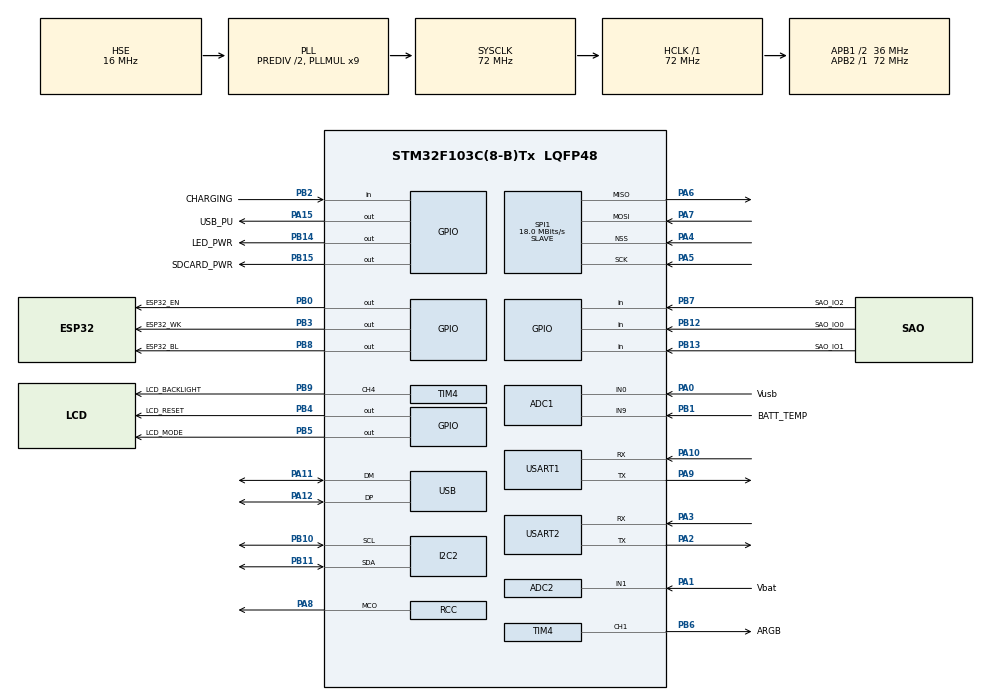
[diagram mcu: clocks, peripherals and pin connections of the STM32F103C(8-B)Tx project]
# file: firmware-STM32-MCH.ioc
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ADC1.Channel-0\#ChannelRegularConversion=ADC_CHANNEL_0
ADC1.NbrOfConversionFlag=1
ADC1.Rank-0\#ChannelRegularConversion=1
ADC1.SamplingTime-0\#ChannelRegularConversion=ADC_SAMPLETIME_1CYCLE_5
ADC1.master=1
ADC2.Channel-0\#ChannelRegularConversion=ADC_CHANNEL_1
ADC2.NbrOfConversionFlag=1
ADC2.Rank-0\#ChannelRegularConversion=1
ADC2.SamplingTime-0\#ChannelRegularConversion=ADC_SAMPLETIME_1CYCLE_5
Dma.Request0=USART2_RX
Dma.Request1=USART2_TX
Dma.Request2=USART1_RX
Dma.Request3=USART1_TX
Dma.Request4=TIM4_CH1
Dma.Request5=SPI1_RX
Dma.Request6=SPI1_TX
Dma.SPI1_RX.5.Direction=DMA_PERIPH_TO_MEMORY
Dma.SPI1_RX.5.Instance=DMA1_Channel2
Dma.SPI1_RX.5.MemDataAlignment=DMA_MDATAALIGN_BYTE
Dma.SPI1_RX.5.MemInc=DMA_MINC_ENABLE
Dma.SPI1_RX.5.Mode=DMA_NORMAL
Dma.SPI1_RX.5.PeriphDataAlignment=DMA_PDATAALIGN_BYTE
Dma.SPI1_RX.5.PeriphInc=DMA_PINC_DISABLE
Dma.SPI1_RX.5.Priority=DMA_PRIORITY_LOW
Dma.SPI1_TX.6.Direction=DMA_MEMORY_TO_PERIPH
Dma.SPI1_TX.6.Instance=DMA1_Channel3
Dma.SPI1_TX.6.MemDataAlignment=DMA_MDATAALIGN_BYTE
Dma.SPI1_TX.6.MemInc=DMA_MINC_ENABLE
Dma.SPI1_TX.6.Mode=DMA_NORMAL
Dma.SPI1_TX.6.PeriphDataAlignment=DMA_PDATAALIGN_BYTE
Dma.SPI1_TX.6.PeriphInc=DMA_PINC_DISABLE
Dma.SPI1_TX.6.Priority=DMA_PRIORITY_LOW
Dma.TIM4_CH1.4.Direction=DMA_MEMORY_TO_PERIPH
Dma.TIM4_CH1.4.Instance=DMA1_Channel1
Dma.TIM4_CH1.4.MemDataAlignment=DMA_MDATAALIGN_HALFWORD
Dma.TIM4_CH1.4.MemInc=DMA_MINC_ENABLE
Dma.TIM4_CH1.4.Mode=DMA_NORMAL
Dma.TIM4_CH1.4.PeriphDataAlignment=DMA_PDATAALIGN_HALFWORD
Dma.TIM4_CH1.4.PeriphInc=DMA_PINC_DISABLE
Dma.TIM4_CH1.4.Priority=DMA_PRIORITY_HIGH
Dma.USART1_RX.2.Direction=DMA_PERIPH_TO_MEMORY
Dma.USART1_RX.2.Instance=DMA1_Channel5
Dma.USART1_RX.2.MemDataAlignment=DMA_MDATAALIGN_BYTE
Dma.USART1_RX.2.MemInc=DMA_MINC_ENABLE
Dma.USART1_RX.2.Mode=DMA_NORMAL
Dma.USART1_RX.2.PeriphDataAlignment=DMA_PDATAALIGN_BYTE
Dma.USART1_RX.2.PeriphInc=DMA_PINC_DISABLE
Dma.USART1_RX.2.Priority=DMA_PRIORITY_LOW
Dma.USART1_TX.3.Direction=DMA_MEMORY_TO_PERIPH
Dma.USART1_TX.3.Instance=DMA1_Channel4
Dma.USART1_TX.3.MemDataAlignment=DMA_MDATAALIGN_BYTE
Dma.USART1_TX.3.MemInc=DMA_MINC_ENABLE
Dma.USART1_TX.3.Mode=DMA_NORMAL
Dma.USART1_TX.3.PeriphDataAlignment=DMA_PDATAALIGN_BYTE
Dma.USART1_TX.3.PeriphInc=DMA_PINC_DISABLE
Dma.USART1_TX.3.Priority=DMA_PRIORITY_LOW
Dma.USART2_RX.0.Direction=DMA_PERIPH_TO_MEMORY
Dma.USART2_RX.0.Instance=DMA1_Channel6
Dma.USART2_RX.0.MemDataAlignment=DMA_MDATAALIGN_BYTE
Dma.USART2_RX.0.MemInc=DMA_MINC_ENABLE
Dma.USART2_RX.0.Mode=DMA_NORMAL
Dma.USART2_RX.0.PeriphDataAlignment=DMA_PDATAALIGN_BYTE
Dma.USART2_RX.0.PeriphInc=DMA_PINC_DISABLE
Dma.USART2_RX.0.Priority=DMA_PRIORITY_LOW
Dma.USART2_TX.1.Direction=DMA_MEMORY_TO_PERIPH
Dma.USART2_TX.1.Instance=DMA1_Channel7
Dma.USART2_TX.1.MemDataAlignment=DMA_MDATAALIGN_BYTE
Dma.USART2_TX.1.MemInc=DMA_MINC_ENABLE
Dma.USART2_TX.1.Mode=DMA_NORMAL
Dma.USART2_TX.1.PeriphDataAlignment=DMA_PDATAALIGN_BYTE
Dma.USART2_TX.1.PeriphInc=DMA_PINC_DISABLE
Dma.USART2_TX.1.Priority=DMA_PRIORITY_LOW
Mcu.Family=STM32F1
Mcu.Name=STM32F103C(8-B)Tx
Mcu.Package=LQFP48
NVIC.ADC1_2_IRQn=true\:15\:0\:true\:false\:true\:true\:true
NVIC.DMA1_Channel1_IRQn=true\:0\:0\:false\:false\:true\:false\:true
NVIC.DMA1_Channel2_IRQn=true\:0\:0\:false\:false\:true\:false\:true
NVIC.DMA1_Channel3_IRQn=true\:0\:0\:false\:false\:true\:false\:true
NVIC.DMA1_Channel4_IRQn=true\:0\:0\:false\:false\:true\:false\:true
NVIC.DMA1_Channel5_IRQn=true\:0\:0\:false\:false\:true\:false\:true
NVIC.DMA1_Channel6_IRQn=true\:0\:0\:true\:false\:true\:false\:true
NVIC.DMA1_Channel7_IRQn=true\:0\:0\:true\:false\:true\:false\:true
NVIC.PriorityGroup=NVIC_PRIORITYGROUP_4
NVIC.TIM4_IRQn=true\:0\:0\:false\:false\:true\:true\:true
NVIC.USART1_IRQn=true\:0\:0\:false\:false\:true\:true\:true
NVIC.USART2_IRQn=true\:0\:0\:true\:false\:true\:true\:true
PA0-WKUP.GPIO_Label=Vusb
PA0-WKUP.Signal=ADCx_IN0
PA1.GPIO_Label=Vbat
PA1.Signal=ADCx_IN1
PA10.Mode=Asynchronous
PA10.Signal=USART1_RX
PA11.Mode=Device
PA11.Signal=USB_DM
PA12.Mode=Device
PA12.Signal=USB_DP
PA13.Mode=Serial_Wire
PA13.Signal=SYS_JTMS-SWDIO
PA14.Mode=Serial_Wire
PA14.Signal=SYS_JTCK-SWCLK
PA15.GPIO_Label=USB_PU
PA15.PinState=GPIO_PIN_SET
PA15.Signal=GPIO_Output
PA2.Mode=Asynchronous
PA2.Signal=USART2_TX
PA3.Mode=Asynchronous
PA3.Signal=USART2_RX
PA4.Mode=NSS_Signal_Hard_Input
PA4.Signal=SPI1_NSS
PA5.Mode=Full_Duplex_Slave
PA5.Signal=SPI1_SCK
PA6.Mode=Full_Duplex_Slave
PA6.Signal=SPI1_MISO
PA7.Mode=Full_Duplex_Slave
PA7.Signal=SPI1_MOSI
PA8.GPIO_Speed=GPIO_SPEED_FREQ_MEDIUM
PA8.Mode=Clock-out
PA8.Signal=RCC_MCO
PA9.Mode=Asynchronous
PA9.Signal=USART1_TX
PB0.GPIO_Label=ESP32_EN
PB0.PinState=GPIO_PIN_SET
PB0.Signal=GPIO_Output
PB1.GPIO_Label=BATT_TEMP
PB1.Signal=ADCx_IN9
PB10.Mode=I2C
PB10.Signal=I2C2_SCL
PB11.Mode=I2C
PB11.Signal=I2C2_SDA
PB12.GPIO_Label=SAO_IO0
PB12.Signal=GPIO_Input
PB13.GPIO_Label=SAO_IO1
PB13.Signal=GPIO_Input
PB14.GPIO_Label=LED_PWR
PB14.PinState=GPIO_PIN_SET
PB14.Signal=GPIO_Output
PB15.GPIO_Label=SDCARD_PWR
PB15.Signal=GPIO_Output
PB2.GPIO_Label=CHARGING
PB2.Signal=GPIO_Input
PB3.GPIO_Label=ESP32_WK
PB3.Signal=GPIO_Output
PB4.GPIO_Label=LCD_RESET
PB4.Signal=GPIO_Output
PB5.GPIO_Label=LCD_MODE
PB5.Signal=GPIO_Output
PB6.GPIO_Label=ARGB
PB6.Signal=S_TIM4_CH1
PB7.GPIO_Label=SAO_IO2
PB7.Signal=GPIO_Input
PB8.GPIO_Label=ESP32_BL
PB8.PinState=GPIO_PIN_SET
PB8.Signal=GPIO_Output
PB9.GPIO_Label=LCD_BACKLIGHT
PB9.Signal=S_TIM4_CH4
PC14-OSC32_IN.Mode=LSE-External-Oscillator
PC14-OSC32_IN.Signal=RCC_OSC32_IN
PC15-OSC32_OUT.Mode=LSE-External-Oscillator
PC15-OSC32_OUT.Signal=RCC_OSC32_OUT
PD0-OSC_IN.Mode=HSE-External-Oscillator
PD0-OSC_IN.Signal=RCC_OSC_IN
PD1-OSC_OUT.Mode=HSE-External-Oscillator
PD1-OSC_OUT.Signal=RCC_OSC_OUT
ProjectManager.HeapSize=0x200
ProjectManager.StackSize=0x400
ProjectManager.TargetToolchain=STM32CubeIDE
RCC.ADCPresc=RCC_ADCPCLK2_DIV6
RCC.AHBFreq_Value=72000000
RCC.APB1CLKDivider=RCC_HCLK_DIV2
RCC.APB1Freq_Value=36000000
RCC.APB1TimFreq_Value=72000000
RCC.APB2Freq_Value=72000000
RCC.APB2TimFreq_Value=72000000
RCC.HCLKFreq_Value=72000000
RCC.HSEDivPLL=RCC_HSE_PREDIV_DIV2
RCC.HSE_VALUE=16000000
RCC.PLLMUL=RCC_PLL_MUL9
RCC.RCC_MCOSource=RCC_MCO1SOURCE_HSE
RCC.SYSCLKFreq_VALUE=72000000
RCC.SYSCLKSource=RCC_SYSCLKSOURCE_PLLCLK
RCC.USBFreq_Value=48000000
RCC.USBPrescaler=RCC_USBCLKSOURCE_PLL_DIV1_5
SH.ADCx_IN0.0=ADC1_IN0,IN0
SH.ADCx_IN1.0=ADC2_IN1,IN1
SH.ADCx_IN9.0=ADC1_IN9,IN9
SH.S_TIM4_CH1.0=TIM4_CH1,PWM Generation1 CH1
SH.S_TIM4_CH4.0=TIM4_CH4,PWM Generation4 CH4
SPI1.BaudRatePrescaler=SPI_BAUDRATEPRESCALER_4
SPI1.CalculateBaudRate=18.0 MBits/s
SPI1.Direction=SPI_DIRECTION_2LINES
SPI1.Mode=SPI_MODE_SLAVE
SPI1.VirtualNSS=VM_NSSHARD
SPI1.VirtualType=VM_SLAVE
TIM4.Channel-PWM\ Generation1\ CH1=TIM_CHANNEL_1
TIM4.Channel-PWM\ Generation4\ CH4=TIM_CHANNEL_4
TIM4.Period=90
TIM4.Pulse-PWM\ Generation4\ CH4=45
USART1.VirtualMode=VM_ASYNC
USART2.VirtualMode=VM_ASYNC
VP_TIM4_VS_ClockSourceINT.Mode=Internal
board=custom

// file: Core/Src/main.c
/* USER CODE BEGIN Header */
/**
  ******************************************************************************
  * @file           : main.c
  * @brief          : Main program body
  ******************************************************************************
  * @attention
  *
  * <h2><center>&copy; Copyright (c) 2020 STMicroelectronics.
  * All rights reserved.</center></h2>
  *
  * This software component is licensed by ST under BSD 3-Clause license,
  * the "License"; You may not use this file except in compliance with the
  * License. You may obtain a copy of the License at:
  *                        opensource.org/licenses/BSD-3-Clause
  *
  ******************************************************************************
  */
/* USER CODE END Header */
#include "main.h"

/* USER CODE BEGIN Includes */
#include "tusb.h"
//#include "i2c_handler.h"
#include "usb_descriptors.h"
#include "uart_driver.h"
#include "led_driver.h"
#include "lcd_helper.h"
#include "spi_driver.h"
#include "webusb.h"
//#include "interrupt_pin.h"
/* USER CODE END Includes */

/* USER CODE BEGIN PD */
#define URL  "webusb.wittemanlabs.nl"

const tusb_desc_webusb_url_t desc_url =
{
  .bLength         = 3 + sizeof(URL) - 1,
  .bDescriptorType = 3, // WEBUSB URL type
  .bScheme         = 1, // 0: http, 1: https
  .url             = URL
};

void webserial_task(void);

/* USER CODE END PD */

ADC_HandleTypeDef hadc1;
ADC_HandleTypeDef hadc2;

I2C_HandleTypeDef hi2c2;

SPI_HandleTypeDef hspi1;
DMA_HandleTypeDef hdma_spi1_rx;
DMA_HandleTypeDef hdma_spi1_tx;

TIM_HandleTypeDef htim4;
DMA_HandleTypeDef hdma_tim4_ch1;

UART_HandleTypeDef huart1;
UART_HandleTypeDef huart2;
DMA_HandleTypeDef hdma_usart1_rx;
DMA_HandleTypeDef hdma_usart1_tx;
DMA_HandleTypeDef hdma_usart2_rx;
DMA_HandleTypeDef hdma_usart2_tx;

PCD_HandleTypeDef hpcd_USB_FS;

void SystemClock_Config(void);
static void MX_GPIO_Init(void);
static void MX_DMA_Init(void);
static void MX_USART2_UART_Init(void);
static void MX_USB_PCD_Init(void);
static void MX_USART1_UART_Init(void);
static void MX_ADC1_Init(void);
static void MX_ADC2_Init(void);
static void MX_TIM4_Init(void);
static void MX_I2C2_Init(void);
static void MX_SPI1_Init(void);

/* USER CODE BEGIN 0 */
enum  {
  BLINK_NOT_MOUNTED = 250,
  BLINK_MOUNTED = 1000,
  BLINK_SUSPENDED = 2500,
};

static uint32_t blink_interval_ms = BLINK_NOT_MOUNTED;
uint32_t last_tick;

void led_task(void);
void usb_device_task(void);
void cdc_task(void);
void hid_task(void);
void midi_task(void);
uint32_t board_millis(void);
/* USER CODE END 0 */

int main(void)
{
  /* USER CODE BEGIN 1 */
#ifdef BOOTLOADER_BUILD
	SCB->VTOR = 0x08004000;
	__enable_irq();
#endif
  /* USER CODE END 1 */

  /* MCU Configuration--------------------------------------------------------*/

  /* Reset of all peripherals, Initializes the Flash interface and the Systick. */
  HAL_Init();

  /* Configure the system clock */
  SystemClock_Config();

  /* Initialize all configured peripherals */
  MX_GPIO_Init();
  MX_DMA_Init();
  MX_USART2_UART_Init();
  MX_USB_PCD_Init();
  MX_USART1_UART_Init();
  MX_ADC1_Init();
  MX_ADC2_Init();
  MX_TIM4_Init();
  MX_I2C2_Init();
  MX_SPI1_Init();
  /* USER CODE BEGIN 2 */
  //HAL_I2C_EnableListen_IT(&hi2c1);
  uart_init();
  tusb_init();
  spi_init(&hspi1);
  init_leds(&htim4, TIM_CHANNEL_1);
  init_lcd();

  uint32_t decimator = 0;
  /* USER CODE END 2 */

  /* Infinite loop */
  /* USER CODE BEGIN WHILE */
  while (1)
  {

	  	tud_task(); // tinyusb device task
		#if CFG_TUD_CDC
				cdc_task();
		#endif

		#if CFG_TUD_HID
		//		hid_task();
		#endif

		#if CFG_TUD_MIDI
		//		midi_task();
		#endif

		webusb_task();

		//button_task();

		//i2c_watchdog(&hi2c1);

		lcd_helper();

		if(last_tick != HAL_GetTick()) {
			last_tick = HAL_GetTick();
			spi_update();
			lcd_helper();
			decimator++;
			if(decimator == 1000) {
				update_leds();
				decimator = 0;
			}

			if (UART_SERIAL.Instance->SR & UART_FLAG_IDLE && UART_SERIAL.hdmarx->State == HAL_DMA_STATE_BUSY) /* if Idle flag is set */
			{
				volatile uint32_t tmp; /* Must be volatile to prevent optimizations */
				tmp = UART_SERIAL.Instance->SR; /* Read status register */
				tmp = UART_SERIAL.Instance->DR; /* Read data register */ //This two reads clears the IDLE Flag
				UNUSED(tmp);

				uint32_t cndtr = UART_SERIAL.hdmarx->Instance->CNDTR;
				if(cndtr < 256) {
					HAL_UART_AbortReceive(&UART_SERIAL);
					UART_Early_Exit(&UART_SERIAL, cndtr);
				}
			}

			if(UART_SERIAL.hdmarx->State == HAL_DMA_STATE_READY) {
				UART_Reset();
			}

			if (UART_FPGA.Instance->SR & UART_FLAG_IDLE && UART_FPGA.hdmarx->State == HAL_DMA_STATE_BUSY) /* if Idle flag is set */
						{
							volatile uint32_t tmp; /* Must be volatile to prevent optimizations */
							tmp = UART_FPGA.Instance->SR; /* Read status register */
							tmp = UART_FPGA.Instance->DR; /* Read data register */ //This two reads clears the IDLE Flag
							UNUSED(tmp);

							uint32_t cndtr = UART_FPGA.hdmarx->Instance->CNDTR;
							if(cndtr < 256) {
								HAL_UART_AbortReceive(&UART_FPGA);
								UART_Early_Exit(&UART_FPGA, cndtr);
							}
						}

			if(UART_FPGA.hdmarx->State == HAL_DMA_STATE_READY) {
				FPGA_Reset();
			}
		}
    /* USER CODE END WHILE */

  }
}

void SystemClock_Config(void)
{
  RCC_OscInitTypeDef RCC_OscInitStruct = {0};
  RCC_ClkInitTypeDef RCC_ClkInitStruct = {0};
  RCC_PeriphCLKInitTypeDef PeriphClkInit = {0};

  /** Initializes the RCC Oscillators according to the specified parameters
  * in the RCC_OscInitTypeDef structure.
  */
  RCC_OscInitStruct.OscillatorType = RCC_OSCILLATORTYPE_HSE;
  RCC_OscInitStruct.HSEState = RCC_HSE_ON;
  RCC_OscInitStruct.HSEPredivValue = RCC_HSE_PREDIV_DIV2;
  RCC_OscInitStruct.HSIState = RCC_HSI_ON;
  RCC_OscInitStruct.PLL.PLLState = RCC_PLL_ON;
  RCC_OscInitStruct.PLL.PLLSource = RCC_PLLSOURCE_HSE;
  RCC_OscInitStruct.PLL.PLLMUL = RCC_PLL_MUL9;
  if (HAL_RCC_OscConfig(&RCC_OscInitStruct) != HAL_OK)
  {
    Error_Handler();
  }
  /** Initializes the CPU, AHB and APB buses clocks
  */
  RCC_ClkInitStruct.ClockType = RCC_CLOCKTYPE_HCLK|RCC_CLOCKTYPE_SYSCLK
                              |RCC_CLOCKTYPE_PCLK1|RCC_CLOCKTYPE_PCLK2;
  RCC_ClkInitStruct.SYSCLKSource = RCC_SYSCLKSOURCE_PLLCLK;
  RCC_ClkInitStruct.AHBCLKDivider = RCC_SYSCLK_DIV1;
  RCC_ClkInitStruct.APB1CLKDivider = RCC_HCLK_DIV2;
  RCC_ClkInitStruct.APB2CLKDivider = RCC_HCLK_DIV1;

  if (HAL_RCC_ClockConfig(&RCC_ClkInitStruct, FLASH_LATENCY_2) != HAL_OK)
  {
    Error_Handler();
  }
  PeriphClkInit.PeriphClockSelection = RCC_PERIPHCLK_ADC|RCC_PERIPHCLK_USB;
  PeriphClkInit.AdcClockSelection = RCC_ADCPCLK2_DIV6;
  PeriphClkInit.UsbClockSelection = RCC_USBCLKSOURCE_PLL_DIV1_5;
  if (HAL_RCCEx_PeriphCLKConfig(&PeriphClkInit) != HAL_OK)
  {
    Error_Handler();
  }
  HAL_RCC_MCOConfig(RCC_MCO, RCC_MCO1SOURCE_HSE, RCC_MCODIV_1);
}

static void MX_ADC1_Init(void)
{

  ADC_ChannelConfTypeDef sConfig = {0};

  /** Common config
  */
  hadc1.Instance = ADC1;
  hadc1.Init.ScanConvMode = ADC_SCAN_DISABLE;
  hadc1.Init.ContinuousConvMode = DISABLE;
  hadc1.Init.DiscontinuousConvMode = DISABLE;
  hadc1.Init.ExternalTrigConv = ADC_SOFTWARE_START;
  hadc1.Init.DataAlign = ADC_DATAALIGN_RIGHT;
  hadc1.Init.NbrOfConversion = 1;
  if (HAL_ADC_Init(&hadc1) != HAL_OK)
  {
    Error_Handler();
  }
  /** Configure Regular Channel
  */
  sConfig.Channel = ADC_CHANNEL_0;
  sConfig.Rank = ADC_REGULAR_RANK_1;
  sConfig.SamplingTime = ADC_SAMPLETIME_1CYCLE_5;
  if (HAL_ADC_ConfigChannel(&hadc1, &sConfig) != HAL_OK)
  {
    Error_Handler();
  }

}

static void MX_ADC2_Init(void)
{

  ADC_ChannelConfTypeDef sConfig = {0};

  /** Common config
  */
  hadc2.Instance = ADC2;
  hadc2.Init.ScanConvMode = ADC_SCAN_DISABLE;
  hadc2.Init.ContinuousConvMode = DISABLE;
  hadc2.Init.DiscontinuousConvMode = DISABLE;
  hadc2.Init.ExternalTrigConv = ADC_SOFTWARE_START;
  hadc2.Init.DataAlign = ADC_DATAALIGN_RIGHT;
  hadc2.Init.NbrOfConversion = 1;
  if (HAL_ADC_Init(&hadc2) != HAL_OK)
  {
    Error_Handler();
  }
  /** Configure Regular Channel
  */
  sConfig.Channel = ADC_CHANNEL_1;
  sConfig.Rank = ADC_REGULAR_RANK_1;
  sConfig.SamplingTime = ADC_SAMPLETIME_1CYCLE_5;
  if (HAL_ADC_ConfigChannel(&hadc2, &sConfig) != HAL_OK)
  {
    Error_Handler();
  }

}

static void MX_I2C2_Init(void)
{

  hi2c2.Instance = I2C2;
  hi2c2.Init.ClockSpeed = 100000;
  hi2c2.Init.DutyCycle = I2C_DUTYCYCLE_2;
  hi2c2.Init.OwnAddress1 = 0;
  hi2c2.Init.AddressingMode = I2C_ADDRESSINGMODE_7BIT;
  hi2c2.Init.DualAddressMode = I2C_DUALADDRESS_DISABLE;
  hi2c2.Init.OwnAddress2 = 0;
  hi2c2.Init.GeneralCallMode = I2C_GENERALCALL_DISABLE;
  hi2c2.Init.NoStretchMode = I2C_NOSTRETCH_DISABLE;
  if (HAL_I2C_Init(&hi2c2) != HAL_OK)
  {
    Error_Handler();
  }

}

static void MX_SPI1_Init(void)
{

  /* SPI1 parameter configuration*/
  hspi1.Instance = SPI1;
  hspi1.Init.Mode = SPI_MODE_SLAVE;
  hspi1.Init.Direction = SPI_DIRECTION_2LINES;
  hspi1.Init.DataSize = SPI_DATASIZE_8BIT;
  hspi1.Init.CLKPolarity = SPI_POLARITY_LOW;
  hspi1.Init.CLKPhase = SPI_PHASE_1EDGE;
  hspi1.Init.NSS = SPI_NSS_HARD_INPUT;
  hspi1.Init.BaudRatePrescaler = SPI_BAUDRATEPRESCALER_4;
  hspi1.Init.FirstBit = SPI_FIRSTBIT_MSB;
  hspi1.Init.TIMode = SPI_TIMODE_DISABLE;
  hspi1.Init.CRCCalculation = SPI_CRCCALCULATION_DISABLE;
  hspi1.Init.CRCPolynomial = 10;
  if (HAL_SPI_Init(&hspi1) != HAL_OK)
  {
    Error_Handler();
  }

}

static void MX_TIM4_Init(void)
{

  TIM_ClockConfigTypeDef sClockSourceConfig = {0};
  TIM_MasterConfigTypeDef sMasterConfig = {0};
  TIM_OC_InitTypeDef sConfigOC = {0};

  htim4.Instance = TIM4;
  htim4.Init.Prescaler = 0;
  htim4.Init.CounterMode = TIM_COUNTERMODE_UP;
  htim4.Init.Period = 90;
  htim4.Init.ClockDivision = TIM_CLOCKDIVISION_DIV1;
  htim4.Init.AutoReloadPreload = TIM_AUTORELOAD_PRELOAD_DISABLE;
  if (HAL_TIM_Base_Init(&htim4) != HAL_OK)
  {
    Error_Handler();
  }
  sClockSourceConfig.ClockSource = TIM_CLOCKSOURCE_INTERNAL;
  if (HAL_TIM_ConfigClockSource(&htim4, &sClockSourceConfig) != HAL_OK)
  {
    Error_Handler();
  }
  if (HAL_TIM_PWM_Init(&htim4) != HAL_OK)
  {
    Error_Handler();
  }
  sMasterConfig.MasterOutputTrigger = TIM_TRGO_RESET;
  sMasterConfig.MasterSlaveMode = TIM_MASTERSLAVEMODE_DISABLE;
  if (HAL_TIMEx_MasterConfigSynchronization(&htim4, &sMasterConfig) != HAL_OK)
  {
    Error_Handler();
  }
  sConfigOC.OCMode = TIM_OCMODE_PWM1;
  sConfigOC.Pulse = 0;
  sConfigOC.OCPolarity = TIM_OCPOLARITY_HIGH;
  sConfigOC.OCFastMode = TIM_OCFAST_DISABLE;
  if (HAL_TIM_PWM_ConfigChannel(&htim4, &sConfigOC, TIM_CHANNEL_1) != HAL_OK)
  {
    Error_Handler();
  }
  sConfigOC.Pulse = 45;
  if (HAL_TIM_PWM_ConfigChannel(&htim4, &sConfigOC, TIM_CHANNEL_4) != HAL_OK)
  {
    Error_Handler();
  }
  HAL_TIM_MspPostInit(&htim4);

}

static void MX_USART1_UART_Init(void)
{

  huart1.Instance = USART1;
  huart1.Init.BaudRate = 115200;
  huart1.Init.WordLength = UART_WORDLENGTH_8B;
  huart1.Init.StopBits = UART_STOPBITS_1;
  huart1.Init.Parity = UART_PARITY_NONE;
  huart1.Init.Mode = UART_MODE_TX_RX;
  huart1.Init.HwFlowCtl = UART_HWCONTROL_NONE;
  huart1.Init.OverSampling = UART_OVERSAMPLING_16;
  if (HAL_UART_Init(&huart1) != HAL_OK)
  {
    Error_Handler();
  }

}

static void MX_USART2_UART_Init(void)
{

  huart2.Instance = USART2;
  huart2.Init.BaudRate = 115200;
  huart2.Init.WordLength = UART_WORDLENGTH_8B;
  huart2.Init.StopBits = UART_STOPBITS_1;
  huart2.Init.Parity = UART_PARITY_NONE;
  huart2.Init.Mode = UART_MODE_TX_RX;
  huart2.Init.HwFlowCtl = UART_HWCONTROL_NONE;
  huart2.Init.OverSampling = UART_OVERSAMPLING_16;
  if (HAL_UART_Init(&huart2) != HAL_OK)
  {
    Error_Handler();
  }

}

static void MX_USB_PCD_Init(void)
{

  hpcd_USB_FS.Instance = USB;
  hpcd_USB_FS.Init.dev_endpoints = 8;
  hpcd_USB_FS.Init.speed = PCD_SPEED_FULL;
  hpcd_USB_FS.Init.low_power_enable = DISABLE;
  hpcd_USB_FS.Init.lpm_enable = DISABLE;
  hpcd_USB_FS.Init.battery_charging_enable = DISABLE;
  if (HAL_PCD_Init(&hpcd_USB_FS) != HAL_OK)
  {
    Error_Handler();
  }

}

static void MX_DMA_Init(void)
{

  /* DMA controller clock enable */
  __HAL_RCC_DMA1_CLK_ENABLE();

  /* DMA interrupt init */
  /* DMA1_Channel1_IRQn interrupt configuration */
  HAL_NVIC_SetPriority(DMA1_Channel1_IRQn, 0, 0);
  HAL_NVIC_EnableIRQ(DMA1_Channel1_IRQn);
  /* DMA1_Channel2_IRQn interrupt configuration */
  HAL_NVIC_SetPriority(DMA1_Channel2_IRQn, 0, 0);
  HAL_NVIC_EnableIRQ(DMA1_Channel2_IRQn);
  /* DMA1_Channel3_IRQn interrupt configuration */
  HAL_NVIC_SetPriority(DMA1_Channel3_IRQn, 0, 0);
  HAL_NVIC_EnableIRQ(DMA1_Channel3_IRQn);
  /* DMA1_Channel4_IRQn interrupt configuration */
  HAL_NVIC_SetPriority(DMA1_Channel4_IRQn, 0, 0);
  HAL_NVIC_EnableIRQ(DMA1_Channel4_IRQn);
  /* DMA1_Channel5_IRQn interrupt configuration */
  HAL_NVIC_SetPriority(DMA1_Channel5_IRQn, 0, 0);
  HAL_NVIC_EnableIRQ(DMA1_Channel5_IRQn);
  /* DMA1_Channel6_IRQn interrupt configuration */
  HAL_NVIC_SetPriority(DMA1_Channel6_IRQn, 0, 0);
  HAL_NVIC_EnableIRQ(DMA1_Channel6_IRQn);
  /* DMA1_Channel7_IRQn interrupt configuration */
  HAL_NVIC_SetPriority(DMA1_Channel7_IRQn, 0, 0);
  HAL_NVIC_EnableIRQ(DMA1_Channel7_IRQn);

}

static void MX_GPIO_Init(void)
{
  GPIO_InitTypeDef GPIO_InitStruct = {0};

  /* GPIO Ports Clock Enable */
  __HAL_RCC_GPIOC_CLK_ENABLE();
  __HAL_RCC_GPIOD_CLK_ENABLE();
  __HAL_RCC_GPIOA_CLK_ENABLE();
  __HAL_RCC_GPIOB_CLK_ENABLE();

  /*Configure GPIO pin Output Level */
  HAL_GPIO_WritePin(GPIOB, ESP32_EN_Pin|LED_PWR_Pin|ESP32_BL_Pin, GPIO_PIN_SET);

  /*Configure GPIO pin Output Level */
  HAL_GPIO_WritePin(GPIOB, SDCARD_PWR_Pin|ESP32_WK_Pin|LCD_RESET_Pin|LCD_MODE_Pin, GPIO_PIN_RESET);

  /*Configure GPIO pin Output Level */
  HAL_GPIO_WritePin(USB_PU_GPIO_Port, USB_PU_Pin, GPIO_PIN_SET);

  /*Configure GPIO pins : ESP32_EN_Pin LED_PWR_Pin SDCARD_PWR_Pin ESP32_WK_Pin
                           LCD_RESET_Pin LCD_MODE_Pin ESP32_BL_Pin */
  GPIO_InitStruct.Pin = ESP32_EN_Pin|LED_PWR_Pin|SDCARD_PWR_Pin|ESP32_WK_Pin
                          |LCD_RESET_Pin|LCD_MODE_Pin|ESP32_BL_Pin;
  GPIO_InitStruct.Mode = GPIO_MODE_OUTPUT_PP;
  GPIO_InitStruct.Pull = GPIO_NOPULL;
  GPIO_InitStruct.Speed = GPIO_SPEED_FREQ_LOW;
  HAL_GPIO_Init(GPIOB, &GPIO_InitStruct);

  /*Configure GPIO pins : CHARGING_Pin SAO_IO0_Pin SAO_IO1_Pin SAO_IO2_Pin */
  GPIO_InitStruct.Pin = CHARGING_Pin|SAO_IO0_Pin|SAO_IO1_Pin|SAO_IO2_Pin;
  GPIO_InitStruct.Mode = GPIO_MODE_INPUT;
  GPIO_InitStruct.Pull = GPIO_NOPULL;
  HAL_GPIO_Init(GPIOB, &GPIO_InitStruct);

  /*Configure GPIO pin : PA8 */
  GPIO_InitStruct.Pin = GPIO_PIN_8;
  GPIO_InitStruct.Mode = GPIO_MODE_AF_PP;
  GPIO_InitStruct.Speed = GPIO_SPEED_FREQ_MEDIUM;
  HAL_GPIO_Init(GPIOA, &GPIO_InitStruct);

  /*Configure GPIO pin : USB_PU_Pin */
  GPIO_InitStruct.Pin = USB_PU_Pin;
  GPIO_InitStruct.Mode = GPIO_MODE_OUTPUT_PP;
  GPIO_InitStruct.Pull = GPIO_NOPULL;
  GPIO_InitStruct.Speed = GPIO_SPEED_FREQ_LOW;
  HAL_GPIO_Init(USB_PU_GPIO_Port, &GPIO_InitStruct);

}

/* USER CODE BEGIN 4 */
// Invoked when device is mounted
void tud_mount_cb(void)
{
  blink_interval_ms = BLINK_MOUNTED;
}

// Invoked when device is unmounted
void tud_umount_cb(void)
{
  blink_interval_ms = BLINK_NOT_MOUNTED;
}

// Invoked when usb bus is suspended
// remote_wakeup_en : if host allow us  to perform remote wakeup
// Within 7ms, device must draw an average of current less than 2.5 mA from bus
void tud_suspend_cb(bool remote_wakeup_en)
{
  (void) remote_wakeup_en;
  blink_interval_ms = BLINK_SUSPENDED;
}

// Invoked when usb bus is resumed
void tud_resume_cb(void)
{
  blink_interval_ms = BLINK_MOUNTED;
}

//--------------------------------------------------------------------+
// USB HID
//--------------------------------------------------------------------+
#if CFG_TUD_HID

//void hid_task(void)
//{
//	bool written = false;
//	bool should_pause = false;
//	uint16_t* button_state = (uint16_t*) getI2CMemory(4);
//	uint8_t* hid_keyboard_dirty = (uint8_t*) getI2CMemory(71);
//	uint8_t* hid_mouse_dirty = (uint8_t*) getI2CMemory(77);
//
//	// Perform wake-up over USB if any button is pressed
//	if ( tud_suspended() && *button_state )
//	{
//		// Wake up host if we are in suspend mode
//		// and REMOTE_WAKEUP feature is enabled by host
//		tud_remote_wakeup();
//	}
//
//	if(*hid_keyboard_dirty && tud_hid_ready()) {
//		uint8_t* key_modifier = (uint8_t*) getI2CMemory(64);
//		uint8_t* keycodes = (uint8_t*) getI2CMemory(65); // 6 bytes
//		tud_hid_keyboard_report(REPORT_ID_KEYBOARD, *key_modifier, keycodes);
//
//		*hid_keyboard_dirty = 0;
//		written = true;
//		should_pause = true;
//	}
//
//	if(*hid_mouse_dirty && tud_hid_ready()) {
//		if(should_pause) {
//			// delay a bit before attempt to send mouse report
//			HAL_Delay(10);
//		}
//
//		int8_t* mouse_data = (int8_t*) getI2CMemory(72);
//
//		// Data in order: buttons bitmask, X, Y, scroll, pan
//		tud_hid_mouse_report(REPORT_ID_MOUSE, *((uint8_t*)mouse_data), *(mouse_data+1), *(mouse_data+2), *(mouse_data+3), *(mouse_data+4));
//		*hid_mouse_dirty = 0;
//		written = true;
//	}
//
//	if(written) {
//		addInterruptReason(INTERRUPT_REASON_HID_WRITTEN);
//		setInterruptPin();
//	}
//}

// Invoked when received GET_REPORT control request
// Application must fill buffer report's content and return its length.
// Return zero will cause the stack to STALL request
uint16_t tud_hid_get_report_cb(uint8_t report_id, hid_report_type_t report_type, uint8_t* buffer, uint16_t reqlen)
{
  // TODO not Implemented
  (void) report_id;
  (void) report_type;
  (void) buffer;
  (void) reqlen;

  return 0;
}

// Invoked when received SET_REPORT control request or
// received data on OUT endpoint ( Report ID = 0, Type = 0 )
void tud_hid_set_report_cb(uint8_t report_id, hid_report_type_t report_type, uint8_t const* buffer, uint16_t bufsize)
{
  // TODO set LED based on CAPLOCK, NUMLOCK etc...
  (void) report_id;
  (void) report_type;
  (void) buffer;
  (void) bufsize;
}

#endif

//--------------------------------------------------------------------+
// MIDI Task
//--------------------------------------------------------------------+

#if CFG_TUD_MIDI

//void midi_task(void)
//{
//	bool written = false;
//
//	// Check and send MIDI data in any of the 4 data buffers
//	for(uint8_t i = 0; i < 4; i++) {
//		uint8_t* midi_data = (uint8_t*) getI2CMemory(78 + i * 4);
//		uint8_t* dirty_byte = midi_data + 3;
//
//		if(*dirty_byte) {
//			tudi_midi_write24(0, *midi_data, *(midi_data+1), *(midi_data+2));
//			*dirty_byte = 0;
//			written = true;
//		}
//	}
//
//	if(written) {
//		addInterruptReason(INTERRUPT_REASON_MIDI_WRITTEN);
//		setInterruptPin();
//	}
//
//	if(tud_midi_available()) {
//		uint8_t* data = getI2CMemory(95);
//		uint8_t* count = getI2CMemory(94);
//		*count = tud_midi_read(data, 32);
//		addInterruptReason(INTTERUPT_REASON_MIDI_RECEIVED);
//		setInterruptPin();
//		//Do something with the data here
//
//	}
//}

#endif

//--------------------------------------------------------------------+
// WebUSB use vendor class
//--------------------------------------------------------------------+
#if CFG_TUD_VENDOR
// Invoked when received VENDOR control request
bool tud_vendor_control_request_cb(uint8_t rhport, tusb_control_request_t const * request)
{
  switch (request->bRequest)
  {
    case VENDOR_REQUEST_WEBUSB:
      // match vendor request in BOS descriptor
      // Get landing page url
      return tud_control_xfer(rhport, request, (void*) &desc_url, desc_url.bLength);

    case VENDOR_REQUEST_MICROSOFT:
      if ( request->wIndex == 7 )
      {
        // Get Microsoft OS 2.0 compatible descriptor
        uint16_t total_len;
        memcpy(&total_len, desc_ms_os_20+8, 2);

        return tud_control_xfer(rhport, request, (void*) desc_ms_os_20, total_len);
      }else
      {
        return false;
      }

    case 0x22:

      // response with status OK
      return tud_control_status(rhport, request);

    default:
      // stall unknown request
      return false;
  }

  return true;
}

// Invoked when DATA Stage of VENDOR's request is complete
bool tud_vendor_control_complete_cb(uint8_t rhport, tusb_control_request_t const * request)
{
  (void) rhport;
  (void) request;

  // nothing to do
  return true;
}
#endif

uint32_t board_millis(void)
{
  return HAL_GetTick();
}

/* USER CODE END 4 */

void Error_Handler(void)
{
}

/************************ (C) COPYRIGHT STMicroelectronics *****END OF FILE****/
